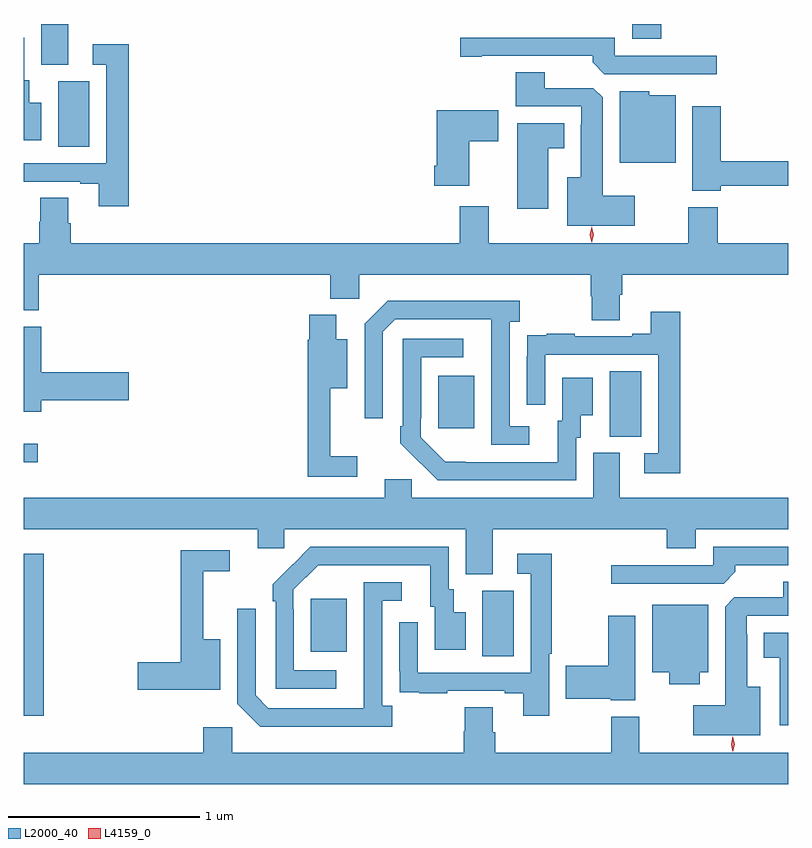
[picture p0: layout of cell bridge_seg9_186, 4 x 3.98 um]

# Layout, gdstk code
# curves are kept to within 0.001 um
import gdstk
lib = gdstk.Library(unit=1e-6, precision=1e-09)
def R(c, l, rs):  # rectangles x0, y0, x1, y1
    for r in rs: c.add(gdstk.rectangle(r[:2], r[2:], *l))
def P(c, l, *ps):  # polygons
    for p in ps: c.add(gdstk.Polygon(p, *l))
L2000_40 = (2000, 40)
L4159_0 = (4159, 0)

bridge_seg9_186 = lib.new_cell('bridge_seg9_186')
R(bridge_seg9_186, L2000_40, [(179.834,1191.45,179.939,1192.297), (182.234,1191.76,182.398,1192.104), (181.337,1191.785,181.525,1192.06), (179.834,1192.776,179.908,1192.872), (182.9,1192.909,183.064,1193.252), (182.003,1192.953,182.191,1193.227), (180.014,1194.424,180.178,1194.768), (179.927,1194.853,180.067,1195.067), (183.017,1194.989,183.17,1195.067)])
P(bridge_seg9_186, L2000_40, [(179.926,1194.655),(179.863,1194.655),(179.863,1194.774),(179.838,1194.774),(179.838,1194.996),(179.834,1194.996),(179.834,1194.459),(179.926,1194.459)],
  [(183.46,1194.9),(182.925,1194.9),(182.925,1194.996),(182.118,1194.996),(182.118,1194.895),(182.23,1194.895),(182.23,1194.9),(182.81,1194.9),(182.81,1194.866),(182.871,1194.804),(183.46,1194.804)],
  [(180.383,1194.961),(180.195,1194.961),(180.195,1194.855),(180.267,1194.855),(180.267,1194.339),(179.834,1194.339),(179.834,1194.243),(180.131,1194.243),(180.131,1194.231),(180.227,1194.231),(180.227,1194.114),(180.383,1194.114)],
  [(183.031,1194.169),(182.863,1194.169),(182.863,1194.683),(182.814,1194.732),(182.56,1194.732),(182.56,1194.815),(182.408,1194.815),(182.408,1194.636),(182.751,1194.636),(182.751,1194.539),(182.747,1194.539),(182.747,1194.265),(182.678,1194.265),(182.678,1194.011),(183.031,1194.011)],
  [(183.244,1194.694),(183.105,1194.694),(183.105,1194.715),(182.951,1194.715),(182.951,1194.341),(183.244,1194.341)],
  [(183.479,1194.222),(183.834,1194.222),(183.834,1194.35),(183.479,1194.35),(183.479,1194.637),(183.332,1194.637),(183.332,1194.194),(183.479,1194.194)],
  [(182.164,1194.454),(182.317,1194.454),(182.317,1194.616),(181.994,1194.616),(181.994,1194.325),(181.982,1194.325),(181.982,1194.221),(182.164,1194.221)],
  [(182.578,1194.416),(182.662,1194.416),(182.662,1194.547),(182.417,1194.547),(182.417,1194.102),(182.578,1194.102)],
  [(182.953,1193.65),(182.966,1193.65),(182.966,1193.756),(183.834,1193.756),(183.834,1193.92),(183.464,1193.92),(183.464,1194.109),(183.311,1194.109),(183.311,1193.92),(182.266,1193.92),(182.266,1194.115),(182.114,1194.115),(182.114,1193.92),(180.08,1193.92),(180.08,1194.026),(180.067,1194.026),(180.067,1194.158),(179.92,1194.158),(179.92,1194.033),(179.915,1194.033),(179.915,1193.92),(179.834,1193.92),(179.834,1193.569),(179.912,1193.569),(179.912,1193.756),(181.439,1193.756),(181.439,1193.63),(181.59,1193.63),(181.59,1193.756),(182.801,1193.756),(182.801,1193.643),(182.806,1193.643),(182.806,1193.518),(182.953,1193.518)],
  [(182.479,1192.962),(182.376,1192.962),(182.376,1193.51),(182.428,1193.51),(182.428,1193.62),(181.738,1193.62),(181.617,1193.499),(181.617,1193.004),(181.713,1193.004),(181.713,1193.457),(181.779,1193.523),(182.279,1193.523),(182.28,1192.866),(182.479,1192.866)],
  [(183.269,1193.563),(183.113,1193.563),(183.113,1193.446),(183.017,1193.446),(183.017,1193.433),(182.717,1193.433),(182.717,1193.446),(182.569,1193.446),(182.569,1193.439),(182.467,1193.439),(182.467,1193.33),(182.466,1193.33),(182.466,1193.076),(182.562,1193.076),(182.562,1193.337),(183.153,1193.337),(183.153,1192.821),(183.081,1192.821),(183.081,1192.716),(183.269,1192.716)],
  [(181.579,1192.807),(181.439,1192.807),(181.439,1193.162),(181.528,1193.162),(181.528,1193.419),(181.468,1193.419),(181.468,1193.545),(181.328,1193.545),(181.328,1193.415),(181.321,1193.415),(181.321,1192.698),(181.579,1192.698)],
  [(179.927,1193.099),(180.385,1193.099),(180.385,1193.246),(179.927,1193.246),(179.927,1193.484),(179.834,1193.484),(179.834,1193.04),(179.927,1193.04)],
  [(182.724,1192.902),(182.749,1192.902),(182.749,1193.021),(182.812,1193.021),(182.812,1193.218),(182.651,1193.218),(182.651,1192.992),(182.627,1192.992),(182.627,1192.776),(182.04,1192.777),(181.911,1192.905),(181.911,1193.005),(181.914,1193.005),(181.914,1193.325),(182.134,1193.325),(182.134,1193.421),(181.818,1193.421),(181.818,1192.963),(181.803,1192.963),(181.803,1192.875),(182,1192.68),(182.724,1192.68)],
  [(182.287,1192.424),(183.197,1192.424),(183.197,1192.325),(183.349,1192.325),(183.349,1192.424),(183.834,1192.424),(183.834,1192.588),(182.953,1192.588),(182.953,1192.824),(182.813,1192.824),(182.813,1192.588),(181.863,1192.588),(181.863,1192.686),(181.724,1192.686),(181.724,1192.588),(179.834,1192.588),(179.834,1192.424),(181.058,1192.424),(181.058,1192.326),(181.197,1192.326),(181.197,1192.424),(182.147,1192.424),(182.147,1192.189),(182.287,1192.189)],
  [(183.557,1192.202),(183.557,1192.236),(183.834,1192.236),(183.834,1192.332),(183.441,1192.332),(183.441,1192.236),(182.907,1192.236),(182.907,1192.14),(183.495,1192.14)],
  [(181.468,1191.687),(181.248,1191.687),(181.248,1192.007),(181.245,1192.007),(181.245,1192.107),(181.374,1192.236),(181.961,1192.236),(181.961,1192.02),(181.985,1192.02),(181.985,1191.795),(182.146,1191.795),(182.146,1191.991),(182.083,1191.991),(182.083,1192.11),(182.058,1192.11),(182.058,1192.332),(181.334,1192.332),(181.137,1192.137),(181.137,1192.049),(181.152,1192.049),(181.152,1191.591),(181.468,1191.591)],
  [(180.862,1191.85),(180.773,1191.85),(180.773,1192.206),(180.913,1192.206),(180.913,1192.314),(180.655,1192.314),(180.655,1191.728),(180.432,1191.728),(180.432,1191.586),(180.862,1191.586)],
  [(182.583,1191.772),(182.596,1191.772),(182.596,1192.297),(182.415,1192.297),(182.415,1192.191),(182.487,1192.191),(182.487,1191.675),(181.896,1191.675),(181.896,1191.937),(181.8,1191.937),(181.8,1191.682),(181.801,1191.682),(181.801,1191.573),(181.903,1191.573),(181.903,1191.567),(182.051,1191.567),(182.051,1191.579),(182.351,1191.579),(182.351,1191.567),(182.447,1191.567),(182.447,1191.45),(182.583,1191.45)],
  [(183.688,1191.601),(183.619,1191.601),(183.619,1191.875),(183.615,1191.875),(183.615,1191.972),(183.834,1191.972),(183.834,1192.151),(183.806,1192.151),(183.806,1192.068),(183.552,1192.068),(183.503,1192.019),(183.503,1191.505),(183.336,1191.505),(183.336,1191.347),(183.688,1191.347)],
  [(181.762,1191.502),(181.71,1191.502),(181.71,1192.05),(181.813,1192.05),(181.813,1192.146),(181.614,1192.146),(181.613,1191.489),(181.113,1191.489),(181.047,1191.555),(181.047,1192.009),(180.951,1192.009),(180.951,1191.513),(181.072,1191.392),(181.762,1191.392)],
  [(183.37,1191.677),(183.415,1191.677),(183.415,1192.03),(183.122,1192.03),(183.122,1191.677),(183.212,1191.677),(183.212,1191.614),(183.37,1191.614)],
  [(183.034,1191.973),(182.893,1191.973),(182.893,1191.71),(182.67,1191.71),(182.67,1191.539),(182.904,1191.539),(182.904,1191.53),(183.034,1191.53)],
  [(183.834,1191.883),(183.704,1191.883),(183.704,1191.752),(183.788,1191.752),(183.788,1191.399),(183.834,1191.399)],
  [(183.834,1191.256),(183.055,1191.256),(183.055,1191.445),(182.908,1191.445),(182.908,1191.256),(182.3,1191.256),(182.3,1191.362),(182.287,1191.362),(182.287,1191.494),(182.14,1191.494),(182.14,1191.369),(182.135,1191.369),(182.135,1191.256),(180.924,1191.256),(180.924,1191.388),(180.773,1191.388),(180.773,1191.256),(179.834,1191.256),(179.834,1191.092),(183.834,1191.092)])
P(bridge_seg9_186, L4159_0, [(182.805,1193.925),(182.805,1193.925),(182.795,1193.965),(182.805,1194.006),(182.805,1194.006),(182.805,1194.006),(182.815,1193.965),(182.805,1193.925)],
  [(183.544,1191.26),(183.543,1191.261),(183.534,1191.301),(183.544,1191.342),(183.544,1191.342),(183.544,1191.342),(183.554,1191.301),(183.544,1191.261)])

lib.write_gds('bridge_seg9_186.gds')
